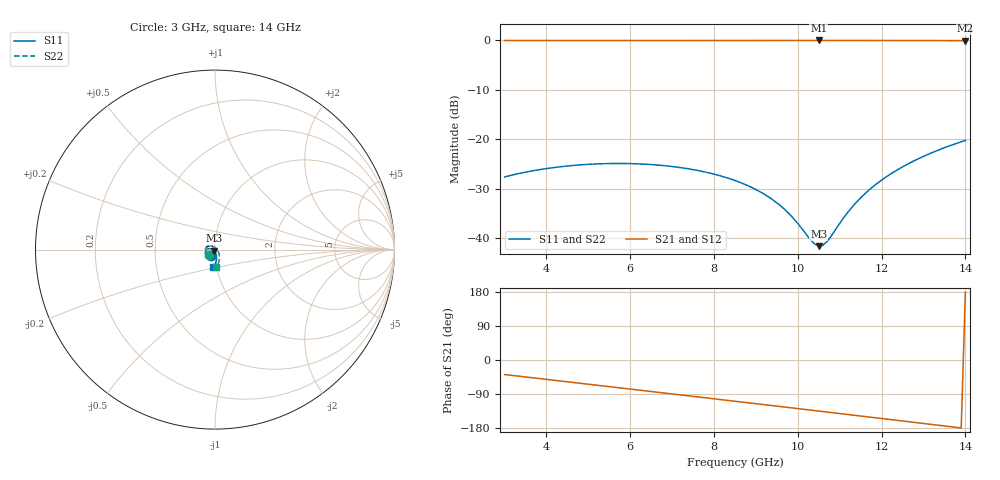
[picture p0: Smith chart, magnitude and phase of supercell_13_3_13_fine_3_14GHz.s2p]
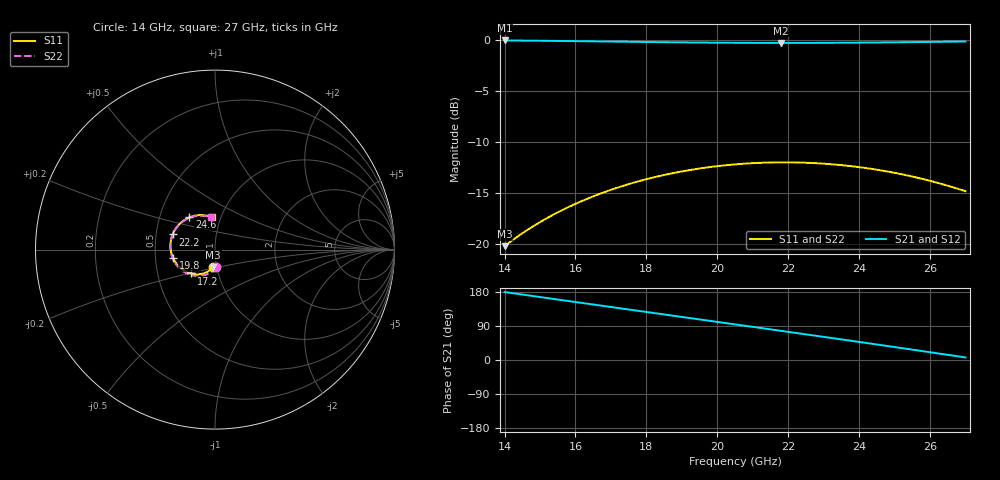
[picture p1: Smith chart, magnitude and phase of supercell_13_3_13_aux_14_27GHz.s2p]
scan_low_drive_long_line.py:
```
#!/usr/bin/env python3
"""Test whether lower drive and a longer 13-3-13 line suppress gain ripple."""

from __future__ import annotations

import csv
import json
import logging
import sys
from pathlib import Path

import matplotlib

matplotlib.use("Agg")
import matplotlib.pyplot as plt
import numpy as np

ROOT = Path(__file__).resolve().parents[1]
sys.path[:0] = [str(ROOT / "code"), str(ROOT / "scripts")]

from analyze_hfss_supercell import SUPERCELL_CELLS, read_touchstone  # noqa: E402
from hfss_bloch import apply_bloch_parameters  # noqa: E402
from scan_hfss_loading_pattern import make_cell  # noqa: E402
from twpa_project_utils import gain_metrics, load_hfss_cell_parameters  # noqa: E402
from twpasolver import TWPAnalysis  # noqa: E402
from twpasolver.logger import log  # noqa: E402
from twpasolver.models import TWPA  # noqa: E402
from twpasolver.modes_rwa import ModeArrayFactory  # noqa: E402


def measure(f: np.ndarray, g: np.ndarray) -> dict[str, object]:
    m = gain_metrics(f, g, band=(4.0, 8.0))
    m["minimum_in_band_gain_db"] = float(np.min(g))
    m["maximum_in_band_gain_db"] = float(np.max(g))
    m["strict_pass"] = bool(m["minimum_in_band_gain_db"] >= 17 and m["ripple_peak_to_peak_db"] <= 3)
    return m


def score(r: dict[str, object]) -> tuple[float, ...]:
    min_gain = float(r["minimum_in_band_gain_db"])
    ripple = float(r["ripple_peak_to_peak_db"])
    return (
        float(bool(r["strict_pass"])),
        float(r["fraction_above_17db"]),
        -max(0.0, 17.0 - min_gain),
        -ripple,
        -abs(float(r["mean_in_band_gain_db"]) - 22.0),
    )


def main() -> None:
    log.setLevel(logging.WARNING)
    inputs = ROOT / "hfss_inputs"
    output = ROOT / "results" / "bloch_corrected" / "step_20_low_drive_long_line"
    output.mkdir(parents=True, exist_ok=True)
    cells, provenance = load_hfss_cell_parameters(inputs / "hfss_cell_parameters.csv")
    f1, s1 = read_touchstone(inputs / "supercell_13_3_13_fine_3_14GHz.s2p")
    f2, s2 = read_touchstone(inputs / "supercell_13_3_13_aux_14_27GHz.s2p")
    measured_f = np.concatenate((f1, f2[1:]))
    measured_s = np.concatenate((s1, s2[1:]), axis=0)

    twpa = TWPA(
        cells=[make_cell(cells["unloaded"], 13), make_cell(cells["loaded"], 3), make_cell(cells["unloaded"], 13)],
        N=1400, Istar=2e-3, Idc=300e-6, Ip0=150e-6,
    )
    analysis = TWPAnalysis(twpa=twpa, f_arange=(0.2, 30.0, 0.002), unit="GHz")

    def prepare(n: int, idc: float, ip: float) -> None:
        analysis.twpa.N, analysis.twpa.Idc, analysis.twpa.Ip0 = int(n), float(idc), float(ip)
        analysis.update_base_data()
        apply_bloch_parameters(
            analysis.data, measured_f, measured_s, SUPERCELL_CELLS
        )
        modes = ModeArrayFactory.create_extended_3wm(
            analysis.data, n_pump_harmonics=1, n_frequency_conversion=1, n_signal_harmonics=1
        )
        analysis.add_mode_array("extended", modes)

    def solve(n: int, idc: float, ip: float, pump: float, signals: np.ndarray):
        prepare(n, idc, ip)
        try:
            result = analysis.gain(signals, pump=pump, Is0=1.4e-6, Ip0=None, model="general", mode_array_config="extended", thin=300, save=False)
            gain = np.asarray(result["gain_db"], dtype=float)
        except Exception:
            return None
        if not np.all(np.isfinite(gain)):
            return None
        return {
            "supercell_repeats": n, "device_length_mm": n * 0.058,
            "pump_GHz": pump, "Idc_A": idc, "Ip0_A": ip, **measure(signals, gain)
        }, gain

    # Sparse signals are used only to nominate candidates; dense verification follows.
    signals = np.arange(4.0, 8.0001, 0.5)
    rows: list[dict[str, object]] = []
    for n in (1400, 1800, 2200, 2600):
        for idc_uA in (250, 350, 450):
            for ip_uA in (100, 150, 200, 250):
                for pump in (12.6, 12.7, 12.8, 12.9, 13.0):
                    result = solve(n, idc_uA * 1e-6, ip_uA * 1e-6, pump, signals)
                    if result is not None:
                        rows.append(result[0])
    rows.sort(key=score, reverse=True)
    with (output / "01_coarse_scan.csv").open("w", newline="") as handle:
        writer = csv.DictWriter(handle, fieldnames=list(rows[0]))
        writer.writeheader(); writer.writerows(rows)

    dense_f = np.arange(4.0, 8.0001, 0.05)
    dense_rows: list[dict[str, object]] = []
    curves: list[np.ndarray] = []
    for row in rows[:12]:
        result = solve(int(row["supercell_repeats"]), float(row["Idc_A"]), float(row["Ip0_A"]), float(row["pump_GHz"]), dense_f)
        if result is not None:
            dense_rows.append(result[0]); curves.append(result[1])
    order = sorted(range(len(dense_rows)), key=lambda i: score(dense_rows[i]), reverse=True)
    dense_rows = [dense_rows[i] for i in order]; curves = [curves[i] for i in order]
    with (output / "02_dense_candidates.csv").open("w", newline="") as handle:
        writer = csv.DictWriter(handle, fieldnames=list(dense_rows[0])); writer.writeheader(); writer.writerows(dense_rows)
    with (output / "03_dense_curves.csv").open("w", newline="") as handle:
        writer = csv.writer(handle); writer.writerow(["signal_GHz", *[f"candidate_{i+1}_gain_dB" for i in range(len(curves))]]); writer.writerows(zip(dense_f, *curves))

    best = dense_rows[0]
    report = {
        "status": "fine_HFSS_complete_model_low_drive_long_line_scan",
        "evaluated_points": len(rows), "selected": best,
        "strict_pass": bool(best["strict_pass"]), "top_dense_candidates": dense_rows,
        "hfss_provenance": provenance,
    }
    (output / "04_assessment.json").write_text(json.dumps(report, indent=2) + "\n")
    fig, ax = plt.subplots(figsize=(9, 5.5))
    for idx, (row, gain) in enumerate(zip(dense_rows[:5], curves[:5]), 1):
        ax.plot(dense_f, gain, label=f"{idx}: {row['device_length_mm']:.0f} mm, fp {row['pump_GHz']:.2f}, Idc {row['Idc_A']*1e6:.0f}, Ip {row['Ip0_A']*1e6:.0f} µA")
    ax.axhline(17, color="k", linestyle=":", label="17 dB minimum")
    ax.set(xlabel="Signal frequency (GHz)", ylabel="Complete-model gain (dB)", title="Lower-drive, longer-line candidates")
    ax.grid(True, alpha=.3); ax.legend(fontsize=8); fig.tight_layout()
    fig.savefig(output / "05_low_drive_long_line.png", dpi=180); fig.savefig(output / "05_low_drive_long_line.pdf"); plt.close(fig)
    print(json.dumps(report, indent=2))


if __name__ == "__main__":
    main()
```
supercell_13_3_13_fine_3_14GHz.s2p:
! Touchstone file exported from HFSS 2026.1.0
!  File:  C:/Users/urbaneja/Ansys/13-3-3_super_cell.aedt
!  Generated:  09:21:28 AM Aug 12, 2026
!  Design:  HFSSDesign_Supercell_13_3_13
!  Project:  13-3-3_super_cell
!  Setup:  Setup1
!  Solution:  Sweep_fine_3_14GHz
! Variables:
!  stub_length = 12um
# GHz S MA R 50.000000
! Terminal data exported
! Port[1] = Port1
! Port[2] = Port2
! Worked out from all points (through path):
!   111 points, 3 GHz to 14 GHz, reference 50 ohm
!   highest |S21| = 0.00 dB at 10.5 GHz (marker M1); lowest = 0.0 dB at 14 GHz (marker M2)
!   group delay of S21, straight-line fit = 35.9 ps
!   lowest |S11| = -41.6 dB at 10.5 GHz (marker M3), VSWR 1.02, Z = 49.4 - j0.544 ohm
!   |S11| at or under -10 dB: start of sweep to end of sweep
!   |S22| runs from -41.6 to -20.2 dB; largest |S21 - S12| = 5.2e-05
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3  0.04161 -118.1  0.9991 -38.4  0.9991 -38.4  0.04161 -138.6
! Gamma 1.90211625812809E-31 2682.20511504638 1.71196688575315E-31 2578.88136852733
! Port Impedance 50 0 50 0
4.4  0.05308 -138.1  0.9986 -56.3  0.9986 -56.3  0.05308 -154.4
5.8  0.05689 -156.5  0.9984 -74.2  0.9984 -74.2  0.05689 -171.9
7.3  0.05092 -174.6  0.9987 -93.4  0.9987 -93.4  0.05092 167.7
8.5  0.03824 173.2  0.9993 -108.9  0.9993 -108.9  0.03824 149.1
9.5  0.02273 169.2  0.9997 -121.8  0.9997 -121.8  0.02273 127.2
10.5  0.008282 -138.3  1 -134.8  1 -134.8  0.008282 48.7
10.7  0.009261 -110.9  1 -137.4  1 -137.4  0.009261 16.1
11.4  0.02309 -77.8  0.9997 -146.5  0.9997 -146.5  0.02309 -35.3
12  0.03862 -77.0  0.9993 -154.4  0.9993 -154.4  0.03862 -51.8
14  0.09729 -95.6  0.9952 179.3  0.9953 179.3  0.09729 -85.7
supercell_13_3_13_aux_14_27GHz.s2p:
! Touchstone file exported from HFSS 2026.1.0
!  File:  C:/Users/urbaneja/Ansys/13-3-3_super_cell.aedt
!  Generated:  09:22:44 AM Aug 12, 2026
!  Design:  HFSSDesign_Supercell_13_3_13
!  Project:  13-3-3_super_cell
!  Setup:  Setup1
!  Solution:  Sweep_aux_14_27GHz
! Variables:
!  stub_length = 12um
# GHz S MA R 50.000000
! Terminal data exported
! Port[1] = Port1
! Port[2] = Port2
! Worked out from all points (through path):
!   66 points, 14 GHz to 27 GHz, reference 50 ohm
!   highest |S21| = -0.04 dB at 14 GHz (marker M1); lowest = -0.3 dB at 21.8 GHz (marker M2)
!   group delay of S21, straight-line fit = 36.7 ps
!   lowest |S11| = -20.2 dB at 14 GHz (marker M3), VSWR 1.22, Z = 48.1 - j9.41 ohm
!   |S11| at or under -10 dB: start of sweep to end of sweep
!   |S22| runs from -20.2 to -12.0 dB; largest |S21 - S12| = 0.00016
!   S11 on the Smith chart (normalised r, x): 14 GHz: 0.96, -0.19; 17.2 GHz: 0.74, -0.20; 19.8 GHz: 0.62, -0.06; 22.2 GHz: 0.61, +0.11; 24.6 GHz: 0.71, +0.27; 27 GHz: 0.91, +0.34
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14  0.09729 -95.6  0.9952 179.3  0.9953 179.3  0.09729 -85.7
! Gamma 0 12516.9952816227 0 12034.8092072632
! Port Impedance 50 0 50 0
15.6  0.1455 -115.0  0.9894 158.2  0.9894 158.2  0.1455 -108.5
17.2  0.1889 -135.2  0.982 137.2  0.982 137.2  0.1889 -130.4
18.6  0.2194 -153.1  0.9756 118.9  0.9756 118.9  0.2194 -149.2
19.8  0.238 -168.5  0.9713 103.2  0.9713 103.2  0.238 -165.2
20.6  0.246 -178.9  0.9693 92.7  0.9693 92.7  0.246 -175.8
21.8  0.2509 165.5  0.968 76.9  0.968 76.9  0.2509 168.3
22.2  0.2506 160.3  0.9681 71.6  0.9681 71.6  0.2506 163.0
24.6  0.2294 128.5  0.9733 39.6  0.9733 39.6  0.2294 130.8
25.8  0.2078 112.2  0.9782 23.3  0.9782 23.3  0.2078 114.4
27  0.1811 95.6  0.9834 6.7  0.9835 6.7  0.1811 97.8
